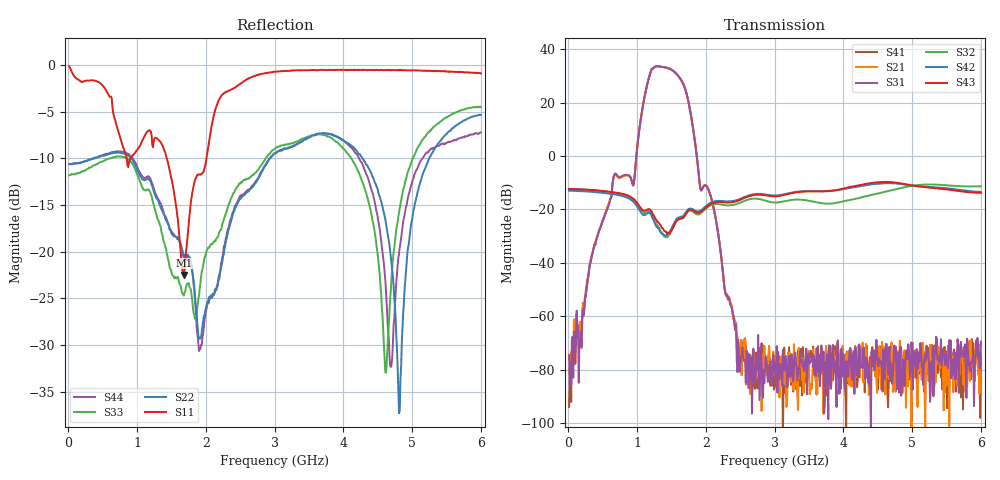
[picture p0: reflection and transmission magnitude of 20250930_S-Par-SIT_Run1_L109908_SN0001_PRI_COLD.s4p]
!Keysight Technologies,P5024B,MY61400385,A.19.30.21
!Date: Tuesday, September 30, 2025 11:48:44
!Correction: S11(C  4-Port  )
!S12(C  4-Port  )
!S13(C  4-Port  )
!S14(C  4-Port  )
!S21(C  4-Port  )
!S22(C  4-Port  )
!S23(C  4-Port  )
!S24(C  4-Port  )
!S31(C  4-Port  )
!S32(C  4-Port  )
!S33(C  4-Port  )
!S34(C  4-Port  )
!S41(C  4-Port  )
!S42(C  4-Port  )
!S43(C  4-Port  )
!S44(C  4-Port  )
!S4P File: Measurements: <S11,S12,S13,S14>,
!<S21,S22,S23,S24>,
!<S31,S32,S33,S34>,
!<S41,S42,S43,S44>:
# Hz S  dB  R 50
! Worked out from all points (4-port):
!   600 points, 10 MHz to 6 GHz, reference 50 ohm
!   strongest paths, dB at 10 MHz, 1.51 GHz, 3.01 GHz, 4.51 GHz, 6 GHz:
!     S43: -12.3, -27.4, -15.1, -9.8, -13.8
!     S42: -13.0, -26.5, -14.8, -10.3, -13.4
!     S32: -12.3, -27.4, -17.4, -13.9, -11.3
!     S31: -74.4, 32.2, -77.4, -78.7, -69.4
!     S21: -81.5, 32.2, -76.1, -78.1, -71.1
!     S41: -93.9, 32.2, -79.7, -83.1, -74.4
!   lowest |S11| = -22.5 dB at 1.68 GHz (marker M1), VSWR 1.16, Z = 50.2 + j7.52 ohm
!   |S11| at or under -10 dB: 847.7 MHz to 900.8 MHz (53.08 MHz wide, 6.07 % of centre); 1.431 GHz to 2.008 GHz (576.2 MHz wide, 33.5 % of centre)
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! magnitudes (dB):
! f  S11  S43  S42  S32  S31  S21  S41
! 10 MHz  -0.1  -12.3  -13.0  -12.3  -74.4  -81.5  -93.9
! 1.2 GHz  -7.2  -20.4  -22.0  -21.4  31.8  31.8  31.8
! 1.68 GHz  -22.5  -22.7  -22.1  -22.9  26.5  26.4  26.4
! 2.49 GHz  -2.1  -16.5  -16.1  -17.5  -80.7  -74.8  -73.4
! 4.17 GHz  -0.5  -11.2  -11.6  -16.0  -71.8  -71.0  -76.3
! 4.81 GHz  -0.6  -10.1  -10.4  -12.1  -88.6  -85.6  -76.2
! 6 GHz  -0.9  -13.8  -13.4  -11.3  -69.4  -71.1  -74.4
